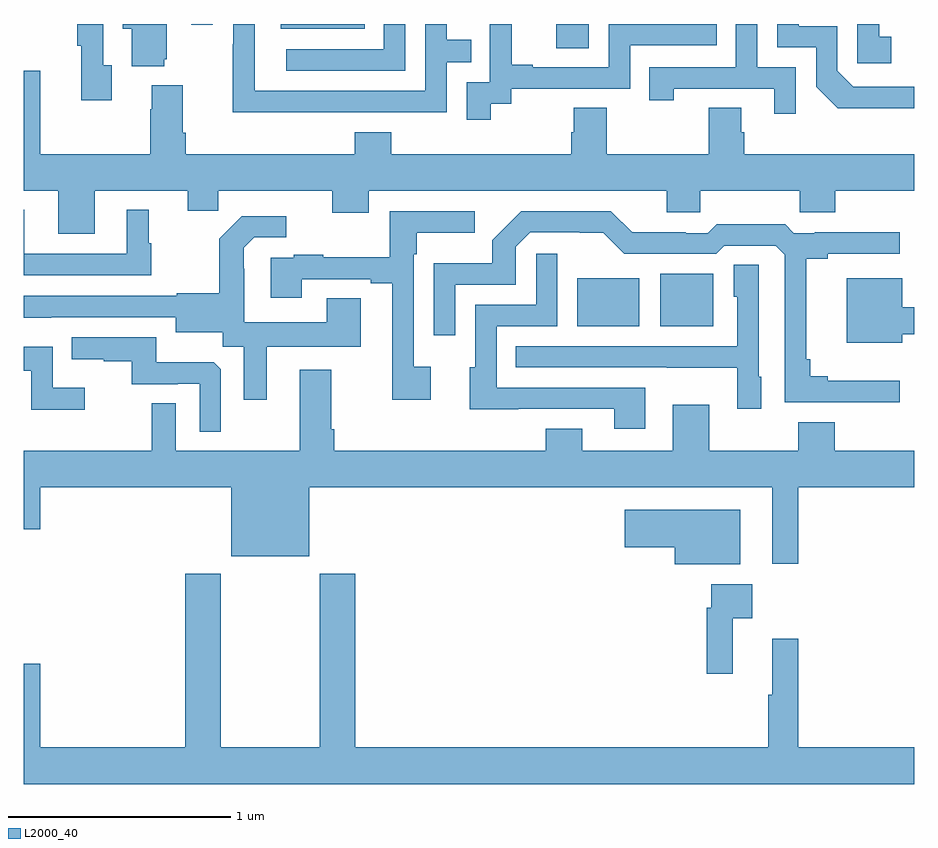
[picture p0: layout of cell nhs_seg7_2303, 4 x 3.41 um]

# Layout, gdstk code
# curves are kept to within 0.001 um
import gdstk
lib = gdstk.Library(unit=1e-6, precision=1e-09)
def R(c, l, rs):  # rectangles x0, y0, x1, y1
    for r in rs: c.add(gdstk.rectangle(r[:2], r[2:], *l))
def P(c, l, *ps):  # polygons
    for p in ps: c.add(gdstk.Polygon(p, *l))
L2000_40 = (2000, 40)

nhs_seg7_2303 = lib.new_cell('nhs_seg7_2303')
R(nhs_seg7_2303, L2000_40, [(263.486,1030.643,263.764,1030.858), (263.858,1030.643,264.097,1030.879), (263.391,1031.892,263.538,1032), (262.154,1031.978,262.532,1032), (261.753,1031.997,261.849,1032)])
P(nhs_seg7_2303, L2000_40, [(261.397,1031.814),(261.357,1031.814),(261.357,1032),(261.241,1032),(261.241,1031.902),(261.26,1031.902),(261.26,1031.658),(261.397,1031.658)],
  [(264.895,1031.943),(264.842,1031.943),(264.842,1032),(264.744,1032),(264.744,1031.823),(264.895,1031.823)],
  [(262.403,1031.604),(262.899,1031.604),(262.899,1031.829),(263.009,1031.829),(263.009,1031.93),(262.899,1031.93),(262.899,1032),(262.803,1032),(262.803,1031.7),(262.038,1031.7),(262.038,1032),(261.942,1032),(261.942,1031.909),(261.94,1031.909),(261.94,1031.603),(262.403,1031.603)],
  [(265,1031.718),(264.726,1031.718),(264.654,1031.79),(264.654,1031.991),(264.481,1031.991),(264.481,1032),(264.384,1032),(264.384,1031.895),(264.558,1031.895),(264.558,1031.718),(264.656,1031.621),(265,1031.621)],
  [(264.468,1031.805),(264.294,1031.805),(264.294,1032),(264.198,1032),(264.198,1031.805),(263.809,1031.805),(263.809,1031.658),(263.92,1031.658),(263.92,1031.709),(264.371,1031.709),(264.371,1031.598),(264.468,1031.598)],
  [(261.632,1031.841),(261.643,1031.841),(261.643,1032),(261.446,1032),(261.446,1031.978),(261.485,1031.978),(261.485,1031.81),(261.632,1031.81)],
  [(263.098,1031.641),(263.19,1031.641),(263.19,1031.709),(263.724,1031.709),(263.724,1031.904),(264.113,1031.904),(264.113,1032),(263.628,1032),(263.628,1031.805),(263.287,1031.805),(263.287,1031.818),(263.192,1031.818),(263.192,1032),(263.093,1032),(263.093,1031.969),(263.094,1031.969),(263.094,1031.739),(262.989,1031.739),(262.989,1031.571),(263.098,1031.571)],
  [(262.713,1032),(262.617,1032),(262.617,1031.886),(262.179,1031.886),(262.179,1031.79),(262.713,1031.79)],
  [(261.737,1031.162),(261.875,1031.162),(261.875,1031.252),(262.385,1031.252),(262.385,1031.153),(262.549,1031.153),(262.549,1031.252),(263.888,1031.252),(263.888,1031.154),(264.039,1031.154),(264.039,1031.252),(264.484,1031.252),(264.484,1031.154),(264.644,1031.154),(264.644,1031.252),(265,1031.252),(265,1031.416),(264.236,1031.416),(264.236,1031.514),(264.223,1031.514),(264.223,1031.624),(264.076,1031.624),(264.076,1031.416),(263.619,1031.416),(263.619,1031.624),(263.471,1031.624),(263.471,1031.514),(263.459,1031.514),(263.459,1031.416),(262.652,1031.416),(262.652,1031.515),(262.487,1031.515),(262.487,1031.416),(261.728,1031.416),(261.728,1031.512),(261.715,1031.512),(261.715,1031.725),(261.575,1031.725),(261.575,1031.618),(261.568,1031.618),(261.568,1031.416),(261.076,1031.416),(261.076,1031.791),(261,1031.791),(261,1031.252),(261.155,1031.252),(261.155,1031.058),(261.319,1031.058),(261.319,1031.252),(261.737,1031.252)],
  [(261.574,1031.016),(261.562,1031.016),(261.562,1031.167),(261.464,1031.167),(261.464,1030.968),(261.004,1030.968),(261.004,1031.167),(261,1031.167),(261,1030.872),(261.574,1030.872)],
  [(264.934,1030.399),(264.61,1030.399),(264.61,1030.418),(264.533,1030.418),(264.533,1030.495),(264.515,1030.495),(264.515,1030.946),(264.61,1030.946),(264.61,1030.968),(264.934,1030.968),(264.934,1031.066),(264.553,1031.066),(264.553,1031.061),(264.459,1031.061),(264.419,1031.101),(264.112,1031.101),(264.072,1031.061),(263.972,1031.061),(263.972,1031.066),(263.732,1031.066),(263.637,1031.16),(263.234,1031.16),(263.104,1031.03),(263.104,1030.927),(262.842,1030.927),(262.842,1030.602),(262.938,1030.602),(262.938,1030.83),(263.211,1030.83),(263.211,1031.001),(263.274,1031.064),(263.603,1031.063),(263.697,1030.968),(264.111,1030.968),(264.147,1031.004),(264.378,1031.004),(264.417,1030.965),(264.417,1030.302),(264.934,1030.302)],
  [(262.828,1030.462),(262.752,1030.462),(262.752,1030.967),(262.765,1030.967),(262.765,1031.063),(263.026,1031.063),(263.026,1031.16),(262.644,1031.16),(262.644,1030.952),(262.345,1030.952),(262.345,1030.963),(262.213,1030.963),(262.213,1030.95),(262.109,1030.95),(262.109,1030.77),(262.249,1030.77),(262.249,1030.854),(262.559,1030.854),(262.559,1030.836),(262.655,1030.836),(262.655,1030.314),(262.828,1030.314)],
  [(262.093,1030.55),(262.513,1030.55),(262.513,1030.769),(262.361,1030.769),(262.361,1030.66),(261.99,1030.66),(261.99,1030.901),(261.988,1030.901),(261.988,1030.996),(262.035,1031.043),(262.18,1031.043),(262.18,1031.137),(261.979,1031.137),(261.879,1031.037),(261.879,1030.792),(261.687,1030.792),(261.687,1030.779),(261,1030.779),(261,1030.682),(261.683,1030.683),(261.683,1030.616),(261.894,1030.616),(261.894,1030.552),(261.989,1030.552),(261.989,1030.314),(262.093,1030.314)],
  [(263.791,1030.368),(263.124,1030.368),(263.124,1030.644),(263.397,1030.644),(263.397,1030.969),(263.301,1030.969),(263.301,1030.74),(263.028,1030.74),(263.028,1030.458),(263.003,1030.458),(263.003,1030.271),(263.221,1030.271),(263.221,1030.272),(263.651,1030.272),(263.651,1030.182),(263.791,1030.182)],
  [(264.313,1030.416),(264.3,1030.416),(264.3,1030.919),(264.188,1030.919),(264.188,1030.776),(264.204,1030.776),(264.204,1030.554),(263.209,1030.554),(263.209,1030.458),(263.887,1030.458),(263.887,1030.457),(264.204,1030.457),(264.204,1030.272),(264.313,1030.272)],
  [(264.946,1030.607),(265,1030.607),(265,1030.729),(264.946,1030.729),(264.946,1030.858),(264.695,1030.858),(264.695,1030.568),(264.946,1030.568)],
  [(261.885,1030.449),(261.853,1030.481),(261.595,1030.481),(261.595,1030.593),(261.217,1030.593),(261.217,1030.496),(261.361,1030.496),(261.361,1030.485),(261.485,1030.485),(261.485,1030.383),(261.692,1030.383),(261.692,1030.386),(261.792,1030.386),(261.792,1030.169),(261.885,1030.169)],
  [(261.274,1030.366),(261.132,1030.366),(261.132,1030.551),(261,1030.551),(261,1030.443),(261.034,1030.443),(261.034,1030.268),(261.274,1030.268)],
  [(264.479,1029.92),(265,1029.92),(265,1030.084),(264.643,1030.084),(264.643,1030.213),(264.479,1030.213),(264.479,1030.084),(264.079,1030.084),(264.079,1030.291),(263.915,1030.291),(263.915,1030.084),(263.509,1030.084),(263.509,1030.183),(263.345,1030.183),(263.345,1030.084),(262.394,1030.084),(262.394,1030.18),(262.381,1030.18),(262.381,1030.447),(262.241,1030.447),(262.241,1030.084),(261.684,1030.084),(261.684,1030.298),(261.576,1030.298),(261.576,1030.084),(261,1030.084),(261,1029.732),(261.076,1029.732),(261.076,1029.92),(261.932,1029.92),(261.932,1029.611),(262.282,1029.611),(262.282,1029.92),(264.362,1029.92),(264.362,1029.576),(264.479,1029.576)],
  [(264.217,1029.82),(263.7,1029.82),(263.7,1029.65),(263.924,1029.65),(263.924,1029.575),(264.217,1029.575)],
  [(265,1028.752),(264.479,1028.752),(264.479,1029.241),(264.362,1029.241),(264.362,1028.988),(264.343,1028.988),(264.343,1028.752),(262.49,1028.752),(262.49,1029.532),(262.33,1029.532),(262.33,1028.752),(261.885,1028.752),(261.885,1029.532),(261.725,1029.532),(261.725,1028.752),(261.076,1028.752),(261.076,1029.127),(261,1029.127),(261,1028.588),(265,1028.588)],
  [(264.185,1029.332),(264.271,1029.332),(264.271,1029.484),(264.087,1029.484),(264.087,1029.38),(264.067,1029.38),(264.067,1029.084),(264.185,1029.084)])

lib.write_gds('nhs_seg7_2303.gds')
